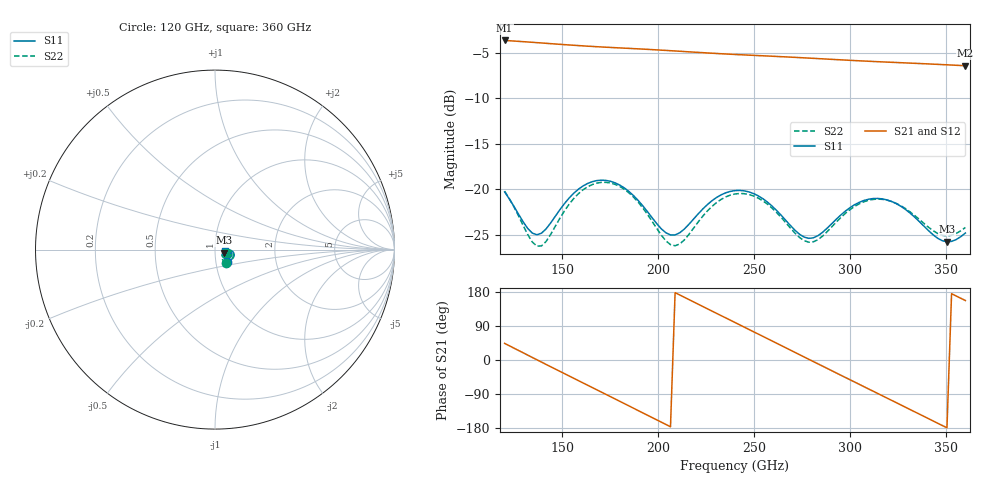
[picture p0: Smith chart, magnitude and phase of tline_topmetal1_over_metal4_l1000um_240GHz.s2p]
#  GHZ S DB R 50
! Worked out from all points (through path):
!   101 points, 120 GHz to 360 GHz, reference 50 ohm
!   highest |S21| = -3.63 dB at 120 GHz (marker M1); lowest = -6.4 dB at 360 GHz (marker M2)
!   group delay of S21, straight-line fit = 7.02 ps
!   lowest |S11| = -25.8 dB at 350.4 GHz (marker M3), VSWR 1.11, Z = 55.1 - j1.83 ohm
!   |S11| at or under -10 dB: start of sweep to end of sweep
!   |S22| runs from -26.3 to -19.2 dB; largest |S21 - S12| = 1.1e-13
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120  -20.30 -45.4  -3.63 43.9  -3.63 43.9  -20.21 -51.9
136.8  -25.01 -23.3  -3.87 0.7  -3.87 0.7  -26.26 -31.1
148.8  -22.25 -2.3  -4.06 -30.0  -4.06 -30.0  -23.19 -2.5
160.8  -19.65 -8.8  -4.23 -60.4  -4.23 -60.4  -20.07 -9.1
170.4  -19.00 -20.1  -4.35 -84.7  -4.35 -84.7  -19.24 -21.5
180  -19.55 -31.6  -4.45 -109.1  -4.45 -109.1  -19.70 -34.3
192  -21.83 -40.1  -4.59 -139.6  -4.59 -139.6  -22.06 -45.1
201.6  -24.35 -33.7  -4.70 -164.0  -4.70 -164.0  -25.05 -40.2
208.8  -25.03 -18.8  -4.79 177.7  -4.79 177.7  -26.22 -23.2
218.4  -23.29 -5.2  -4.92 153.4  -4.92 153.4  -24.29 -5.2
230.4  -20.90 -8.3  -5.07 123.1  -5.07 123.1  -21.46 -7.7
240  -20.15 -17.8  -5.17 98.9  -5.17 98.9  -20.52 -17.6
252  -20.72 -30.4  -5.30 68.7  -5.30 68.7  -20.97 -31.0
264  -22.85 -36.7  -5.42 38.4  -5.42 38.4  -23.09 -38.4
280.8  -25.34 -16.6  -5.60 -4.1  -5.60 -4.1  -25.79 -18.0
290.4  -23.79 -5.4  -5.71 -28.2  -5.71 -28.2  -24.14 -5.8
302.4  -21.69 -8.3  -5.85 -58.4  -5.85 -58.4  -21.88 -8.5
312  -21.02 -16.8  -5.95 -82.5  -5.95 -82.5  -21.12 -17.1
321.6  -21.35 -26.1  -6.04 -106.6  -6.04 -106.6  -21.35 -26.4
336  -23.56 -33.4  -6.17 -142.8  -6.17 -142.8  -23.32 -33.5
350.4  -25.78 -18.8  -6.31 -179.0  -6.31 -179.0  -25.13 -20.9
360  -24.82 -5.9  -6.41 156.9  -6.41 156.9  -24.20 -10.4
